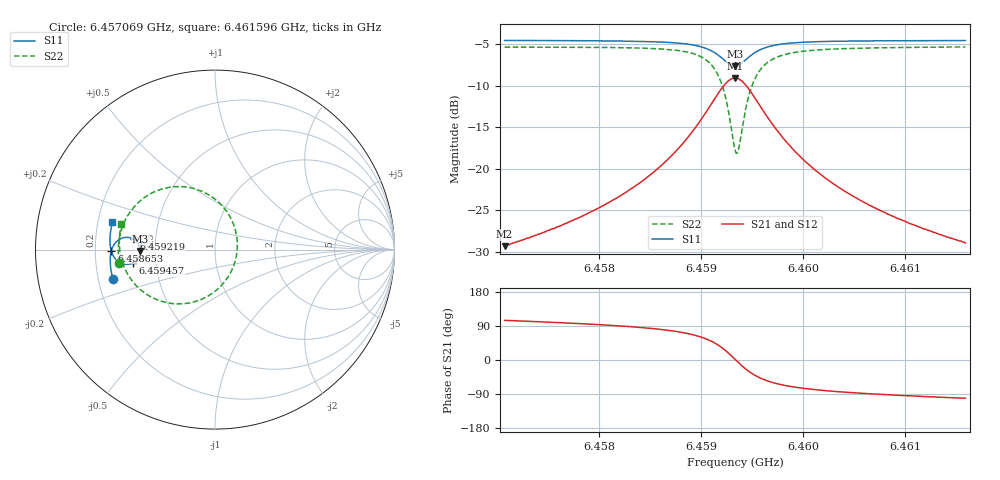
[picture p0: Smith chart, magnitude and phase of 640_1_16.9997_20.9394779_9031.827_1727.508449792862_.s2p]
#  HZ  S  RI  R  50.00
! Rohde & Schwarz Vector Network Analyzer
! Rohde-Schwarz,ZNB20-2Port,1311601062101988,3.16
! Created: UTC 3/20/2024, 11:20:47 PM
! freq[Hz]  re:S11  im:S11  re:S21  im:S21  re:S12  im:S12  re:S22  im:S22
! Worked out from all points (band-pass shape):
!   401 points, 6.457069 GHz to 6.461596 GHz, reference 50 ohm
!   highest |S21| = -9.08 dB at 6.459332 GHz (marker M1); lowest = -29.3 dB at 6.457069 GHz (marker M2)
!   |S21| within 3 dB of the highest: 6.459106 GHz to 6.459559 GHz (452.4 kHz wide, 0.007 % of centre)
!   lowest |S11| = -7.6 dB at 6.459332 GHz (marker M3), VSWR 2.42, Z = 20.7 - j0.35 ohm
!   |S11| at or under -10 dB: nowhere
!   |S22| runs from -18.1 to -5.3 dB; largest |S21 - S12| = 0.014
!   S11 on the Smith chart (normalised r, x): 6.457069 GHz: 0.26, -0.13; 6.458653 GHz: 0.27, -0.00; 6.459219 GHz: 0.38, +0.05; 6.459457 GHz: 0.37, -0.07; 6.461596 GHz: 0.26, +0.12
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6.4570688e9  -0.5686 -0.1651  -0.00855 0.033  -0.00678 0.0331  -0.5346 -0.0762
6.457827e9  -0.5818 -0.0983  -0.00505 0.0514  -0.00251 0.0507  -0.5386 0.0138
6.4582458e9  -0.5842 -0.0561  0.00112 0.071  0.00447 0.0696  -0.5294 0.0812
6.4585853e9  -0.5797 -0.015  0.0154 0.1002  0.0195 0.0974  -0.5026 0.1591
6.4586532e9  -0.5774 -0.00551  0.0209 0.1087  0.0251 0.1054  -0.4922 0.1794
6.4588455e9  -0.5644 0.0248  0.0481 0.1399  0.0523 0.1348  -0.441 0.2488
6.4589927e9  -0.5412 0.051  0.0944 0.1705  0.0975 0.1636  -0.3556 0.3132
6.4591285e9  -0.4966 0.0681  0.1831 0.1868  0.1839 0.1793  -0.1934 0.3511
6.459219e9  -0.4515 0.0574  0.274 0.1544  0.2742 0.1486  -0.0242 0.2985
6.4592869e9  -0.4221 0.0246  0.3351 0.081  0.3374 0.0758  0.0923 0.1659
6.4593322e9  -0.4153 -0.007  0.3515 0.0119  0.3553 0.00501  0.1247 0.0363
6.4593661e9  -0.4194 -0.0311  0.3454 -0.0415  0.3494 -0.0507  0.1123 -0.0653
6.4594114e9  -0.4353 -0.0577  0.3158 -0.1024  0.3182 -0.1144  0.0527 -0.1804
6.4594566e9  -0.4578 -0.0743  0.2728 -0.1437  0.272 -0.1573  -0.0348 -0.2564
6.4595472e9  -0.5018 -0.0811  0.1863 -0.1749  0.1799 -0.1868  -0.2076 -0.3024
6.4596151e9  -0.5265 -0.0737  0.1371 -0.1725  0.1287 -0.1817  -0.3029 -0.2865
6.4596943e9  -0.5463 -0.0604  0.0969 -0.1601  0.0881 -0.1664  -0.3783 -0.2508
6.4598527e9  -0.5681 -0.0327  0.0513 -0.1315  0.0436 -0.1343  -0.4595 -0.1769
6.4600904e9  -0.5809 0.00294  0.022 -0.0992  0.016 -0.0996  -0.5078 -0.0929
6.4604186e9  -0.5853 0.0425  0.00626 -0.0724  0.00205 -0.0718  -0.5287 -0.0151
6.4608486e9  -0.5834 0.0862  -0.00174 -0.0528  -0.00459 -0.0518  -0.5329 0.0556
6.4615955e9  -0.5712 0.1526  -0.00664 -0.0351  -0.00847 -0.0342  -0.5215 0.1449
